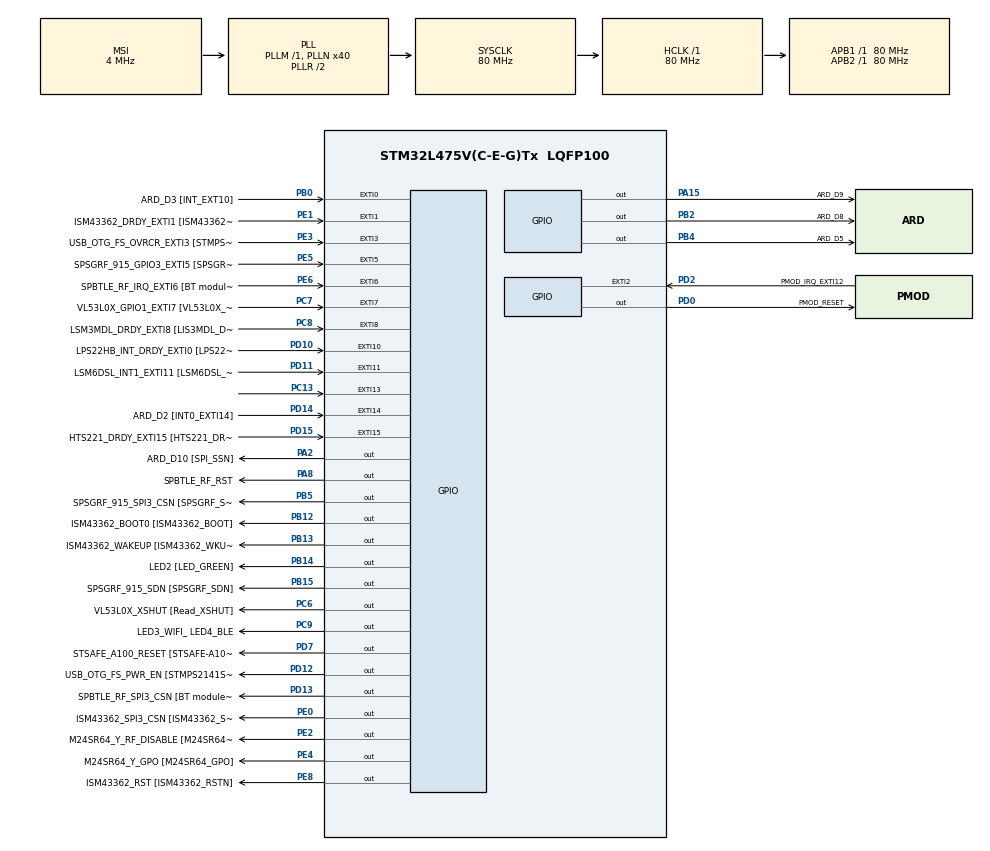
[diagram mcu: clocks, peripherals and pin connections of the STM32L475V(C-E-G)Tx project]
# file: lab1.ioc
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FREERTOS.Mutexes01=LED2_Mutex,Dynamic,NULL,Available
FREERTOS.Tasks01=Task_1,24,128,StartTask_1,Default,NULL,Dynamic,NULL,NULL;Task_2,32,128,StartTask_2,Default,NULL,Dynamic,NULL,NULL
Mcu.Family=STM32L4
Mcu.Name=STM32L475V(C-E-G)Tx
Mcu.Package=LQFP100
NVIC.EXTI15_10_IRQn=true\:5\:0\:false\:false\:true\:true\:true\:true\:true
NVIC.EXTI9_5_IRQn=true\:5\:0\:false\:false\:true\:true\:true\:true\:true
NVIC.PriorityGroup=NVIC_PRIORITYGROUP_4
NVIC.TIM6_DAC_IRQn=true\:5\:0\:false\:false\:true\:true\:true\:true\:true
PA0.GPIO_Label=ARD_D1 [UART4_TX]
PA0.Signal=UART4_TX
PA1.GPIO_Label=ARD_D0 [UART4_RX]
PA1.Signal=UART4_RX
PA10.GPIO_Label=USB_OTG_FS_ID
PA10.Signal=USB_OTG_FS_ID
PA11.GPIO_Label=USB_OTG_FS_DM
PA11.Signal=USB_OTG_FS_DM
PA12.GPIO_Label=USB_OTG_FS_DP
PA12.Signal=USB_OTG_FS_DP
PA13\ (JTMS-SWDIO).GPIO_Label=SYS_JTMS_SWDIO
PA13\ (JTMS-SWDIO).Signal=SYS_JTMS-SWDIO
PA14\ (JTCK-SWCLK).GPIO_Label=SYS_JTCK_SWCLK
PA14\ (JTCK-SWCLK).Signal=SYS_JTCK-SWCLK
PA15\ (JTDI).GPIO_Label=ARD_D9
PA15\ (JTDI).Signal=GPIO_Output
PA2.GPIO_Label=ARD_D10 [SPI_SSN]
PA2.Signal=GPIO_Output
PA3.GPIO_Label=ARD_D4
PA3.Signal=S_TIM2_CH4
PA4.GPIO_Label=ARD_D7
PA4.Signal=ADCx_IN9
PA5.GPIO_Label=ARD_D13 [SPI1_SCK]
PA5.Signal=SPI1_SCK
PA6.GPIO_Label=ARD_D12 [SPI1_MISO]
PA6.Signal=SPI1_MISO
PA7.GPIO_Label=ARD_D11 [SPI1_MOSI]
PA7.Signal=SPI1_MOSI
PA8.GPIO_Label=SPBTLE_RF_RST
PA8.Signal=GPIO_Output
PA9.GPIO_Label=USB_OTG_FS_VBUS [STMPS2141STR_OUT]
PA9.Signal=USB_OTG_FS_VBUS
PB0.GPIO_Label=ARD_D3 [INT_EXT10]
PB0.Signal=GPXTI0
PB1.GPIO_Label=ARD_D6 [ADC1_IN6]
PB1.Signal=ADCx_IN16
PB10.GPIO_Label=INTERNAL_I2C2_SCL [VL53L0X_SCL]
PB10.Signal=I2C2_SCL
PB11.GPIO_Label=INTERNAL_I2C2_SDA [VL53L0X_SDA]
PB11.Signal=I2C2_SDA
PB12.GPIO_Label=ISM43362_BOOT0 [ISM43362_BOOT]
PB12.Signal=GPIO_Output
PB13.GPIO_Label=ISM43362_WAKEUP [ISM43362_WKUP]
PB13.Signal=GPIO_Output
PB14.GPIO_Label=LED2 [LED_GREEN]
PB14.Signal=GPIO_Output
PB15.GPIO_Label=SPSGRF_915_SDN [SPSGRF_SDN]
PB15.Signal=GPIO_Output
PB2.GPIO_Label=ARD_D8
PB2.Signal=GPIO_Output
PB3\ (JTDO-TRACESWO).GPIO_Label=SYS_JTD0_SWO
PB3\ (JTDO-TRACESWO).Signal=SYS_JTDO-SWO
PB4\ (NJTRST).GPIO_Label=ARD_D5
PB4\ (NJTRST).Signal=GPIO_Output
PB5.GPIO_Label=SPSGRF_915_SPI3_CSN [SPSGRF_SPI_CS]
PB5.PinState=GPIO_PIN_SET
PB5.Signal=GPIO_Output
PB6.GPIO_Label=ST_LINK_UART1_TX
PB6.Signal=USART1_TX
PB7.GPIO_Label=ST_LINK_UART1_RX
PB7.Signal=USART1_RX
PB8.GPIO_Label=ARD_D15 [I2C1_SCL]
PB8.Signal=I2C1_SCL
PB9.GPIO_Label=ARD_D14 [I2C1_SDA]
PB9.Signal=I2C1_SDA
PC0.GPIO_Label=ARD_A5 [ADC]
PC0.Signal=ADCx_IN1
PC1.GPIO_Label=ARD_A4 [ADC]
PC1.Signal=ADCx_IN2
PC10.GPIO_Label=INTERNAL_SPI3_SCK [BT module_SPI_SCLK] [ISM43362_SCK]
PC10.Signal=SPI3_SCK
PC11.GPIO_Label=INTERNAL_SPI3_MISO [BT module_SPI_MISO] [ISM43362_MISO]
PC11.Signal=SPI3_MISO
PC12.GPIO_Label=INTERNAL_SPI3_MOSI [BT module_SPI_MOSI] [ISM43362_MOSI]
PC12.Signal=SPI3_MOSI
PC13.GPIO_ModeDefaultEXTI=GPIO_MODE_IT_RISING_FALLING
PC13.GPIO_PuPd=GPIO_PULLUP
PC13.Signal=GPXTI13
PC14-OSC32_IN\ (PC14).Signal=RCC_OSC32_IN
PC15-OSC32_OUT\ (PC15).Signal=RCC_OSC32_OUT
PC2.GPIO_Label=ARD_A3 [ADC]
PC2.Signal=ADCx_IN3
PC3.GPIO_Label=ARD_A2 [ADC]
PC3.Signal=ADCx_IN4
PC4.GPIO_Label=ARD_A1 [ADC]
PC4.Signal=ADCx_IN13
PC5.GPIO_Label=ARD_A0 [ADC]
PC5.Signal=ADCx_IN14
PC6.GPIO_Label=VL53L0X_XSHUT [Read_XSHUT]
PC6.Signal=GPIO_Output
PC7.GPIO_Label=VL53L0X_GPIO1_EXTI7 [VL53L0X_GPIO1]
PC7.Signal=GPXTI7
PC8.GPIO_Label=LSM3MDL_DRDY_EXTI8 [LIS3MDL_DRDY]
PC8.Signal=GPXTI8
PC9.GPIO_Label=LED3_WIFI_ LED4_BLE
PC9.Signal=GPIO_Output
PD0.GPIO_Label=PMOD_RESET
PD0.Signal=GPIO_Output
PD1.GPIO_Label=PMOD_SPI2_SCK
PD1.Signal=SPI2_SCK
PD10.GPIO_Label=LPS22HB_INT_DRDY_EXTI0 [LPS22HB_INT_DRDY] 
PD10.Signal=GPXTI10
PD11.GPIO_Label=LSM6DSL_INT1_EXTI11 [LSM6DSL_INT1]
PD11.Signal=GPXTI11
PD12.GPIO_Label=USB_OTG_FS_PWR_EN [STMPS2141STR_EN]
PD12.Signal=GPIO_Output
PD13.GPIO_Label=SPBTLE_RF_SPI3_CSN [BT module_SPI_CS]
PD13.PinState=GPIO_PIN_SET
PD13.Signal=GPIO_Output
PD14.GPIO_Label=ARD_D2 [INT0_EXTI14]
PD14.Signal=GPXTI14
PD15.GPIO_Label=HTS221_DRDY_EXTI15 [HTS221_DRDY]
PD15.Signal=GPXTI15
PD2.GPIO_Label=PMOD_IRQ_EXTI12
PD2.Signal=GPXTI2
PD3.GPIO_Label=PMOD_UART2_CTS
PD3.Signal=USART2_CTS
PD4.GPIO_Label=PMOD_UART2_RTS
PD4.Signal=USART2_RTS
PD5.GPIO_Label=PMOD_UART2_TX
PD5.Signal=USART2_TX
PD6.GPIO_Label=PMOD_UART2_RX
PD6.Signal=USART2_RX
PD7.GPIO_Label=STSAFE_A100_RESET [STSAFE-A100_RESET]
PD7.Signal=GPIO_Output
PD8.GPIO_Label=INTERNAL_UART3_TX [ISM43362_RX]
PD8.Signal=USART3_TX
PD9.GPIO_Label=INTERNAL_UART3_RX [ISM43362_TX]
PD9.Signal=USART3_RX
PE0.GPIO_Label=ISM43362_SPI3_CSN [ISM43362_SSN]
PE0.PinState=GPIO_PIN_SET
PE0.Signal=GPIO_Output
PE1.GPIO_Label=ISM43362_DRDY_EXTI1 [ISM43362_DATARDY]
PE1.Signal=GPXTI1
PE10.GPIO_Label=QUADSPI_CLK [MX25R6435F_SCLK]
PE10.Signal=QUADSPI_CLK
PE11.GPIO_Label=QUADSPI_NCS [MX25R6435F_SCLK]
PE11.Signal=QUADSPI_NCS
PE12.GPIO_Label=OQUADSPI_BK1_IO0 [MX25R6435F_IO0]
PE12.Signal=QUADSPI_BK1_IO0
PE13.GPIO_Label=QUADSPI_BK1_IO1 [MX25R6435F_IO1]
PE13.Signal=QUADSPI_BK1_IO1
PE14.GPIO_Label=QUAD_SPI_BK1_IO2 [MX25R6435F_IO2]
PE14.Signal=QUADSPI_BK1_IO2
PE15.GPIO_Label=QUAD_SPI_BK1_IO3 [MX25R6435F_IO3]
PE15.Signal=QUADSPI_BK1_IO3
PE2.GPIO_Label=M24SR64_Y_RF_DISABLE [M24SR64_RFDIS]
PE2.Signal=GPIO_Output
PE3.GPIO_Label=USB_OTG_FS_OVRCR_EXTI3 [STMPS2141STR_FAULT]
PE3.Signal=GPXTI3
PE4.GPIO_Label=M24SR64_Y_GPO [M24SR64_GPO]
PE4.Signal=GPIO_Output
PE5.GPIO_Label=SPSGRF_915_GPIO3_EXTI5 [SPSGRF_GPIO_3]
PE5.Signal=GPXTI5
PE6.GPIO_Label=SPBTLE_RF_IRQ_EXTI6 [BT module_SPI_IRQ]
PE6.Signal=GPXTI6
PE7.GPIO_Label=DFSDM1_DATIN2 [MP34DT01_DOUT]
PE7.Signal=S_DATAIN2DFSDM1
PE8.GPIO_Label=ISM43362_RST [ISM43362_RSTN]
PE8.Signal=GPIO_Output
PE9.GPIO_Label=DFSDM1_CKOUT [MP34DT01_CLK]
PE9.Signal=S_CKOUTDFSDM1
ProjectManager.HeapSize=0x200
ProjectManager.StackSize=0x400
ProjectManager.TargetToolchain=STM32CubeIDE
RCC.ADCFreq_Value=48000000
RCC.AHBFreq_Value=80000000
RCC.APB1Freq_Value=80000000
RCC.APB1TimFreq_Value=80000000
RCC.APB2Freq_Value=80000000
RCC.APB2TimFreq_Value=80000000
RCC.CortexFreq_Value=80000000
RCC.HCLKFreq_Value=80000000
RCC.HSE_VALUE=8000000
RCC.HSI_VALUE=16000000
RCC.LSE_VALUE=32768
RCC.MSI_VALUE=4000000
RCC.PLLN=40
RCC.PLLSAI1N=24
RCC.SYSCLKFreq_VALUE=80000000
RCC.SYSCLKSource=RCC_SYSCLKSOURCE_PLLCLK
RCC.USBFreq_Value=48000000
RCC.VCOOutputFreq_Value=160000000
SH.ADCx_IN1.0=ADC1_IN1
SH.ADCx_IN13.0=ADC1_IN13
SH.ADCx_IN14.0=ADC1_IN14
SH.ADCx_IN16.0=ADC1_IN16
SH.ADCx_IN2.0=ADC1_IN2
SH.ADCx_IN3.0=ADC1_IN3
SH.ADCx_IN4.0=ADC1_IN4
SH.ADCx_IN9.0=ADC1_IN9
SH.S_CKOUTDFSDM1.0=DFSDM1_CKOUT
SH.S_DATAIN2DFSDM1.0=DFSDM1_DATIN2
SH.S_TIM2_CH4.0=TIM2_CH4
TIM6.AutoReloadPreload=TIM_AUTORELOAD_PRELOAD_ENABLE
TIM6.Period=39999
TIM6.Prescaler=19999
VP_FREERTOS_VS_CMSIS_V2.Mode=CMSIS_V2
VP_TIM6_VS_ClockSourceINT.Mode=Enable_Timer
board=B-L475E-IOT01A1

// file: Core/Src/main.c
/* USER CODE BEGIN Header */
/**
  ******************************************************************************
  * @file           : main.c
  * @brief          : Main program body
  ******************************************************************************
  * @attention
  *
  * Copyright (c) 2024 STMicroelectronics.
  * All rights reserved.
  *
  * This software is licensed under terms that can be found in the LICENSE file
  * in the root directory of this software component.
  * If no LICENSE file comes with this software, it is provided AS-IS.
  *
  ******************************************************************************
  */
/* USER CODE END Header */
#include "main.h"
#include "cmsis_os.h"

TIM_HandleTypeDef htim6;

/* Definitions for Task_1 */
osThreadId_t Task_1Handle;
const osThreadAttr_t Task_1_attributes = {
  .name = "Task_1",
  .stack_size = 128 * 4,
  .priority = (osPriority_t) osPriorityNormal,
};
/* Definitions for Task_2 */
osThreadId_t Task_2Handle;
const osThreadAttr_t Task_2_attributes = {
  .name = "Task_2",
  .stack_size = 128 * 4,
  .priority = (osPriority_t) osPriorityAboveNormal,
};
/* Definitions for LED2_Mutex */
osMutexId_t LED2_MutexHandle;
const osMutexAttr_t LED2_Mutex_attributes = {
  .name = "LED2_Mutex"
};

void SystemClock_Config(void);
static void MX_GPIO_Init(void);
static void MX_TIM6_Init(void);
void StartTask_1(void *argument);
void StartTask_2(void *argument);

/* USER CODE BEGIN 0 */
uint32_t pressed_time = 0;
uint8_t button_is_pressed = 0;
/* USER CODE END 0 */

int main(void)
{

  /* MCU Configuration--------------------------------------------------------*/

  /* Reset of all peripherals, Initializes the Flash interface and the Systick. */
  HAL_Init();

  /* Configure the system clock */
  SystemClock_Config();

  /* Initialize all configured peripherals */
  MX_GPIO_Init();
  MX_TIM6_Init();
  /* USER CODE BEGIN 2 */

  if (HAL_TIM_Base_Start_IT(&htim6) != HAL_OK)
  {
      /* Starting Error */
      Error_Handler();
  }
  /* USER CODE END 2 */

  /* Init scheduler */
  osKernelInitialize();
  /* Create the mutex(es) */
  /* creation of LED2_Mutex */
  LED2_MutexHandle = osMutexNew(&LED2_Mutex_attributes);

  /* Create the thread(s) */
  /* creation of Task_1 */
  Task_1Handle = osThreadNew(StartTask_1, NULL, &Task_1_attributes);

  /* creation of Task_2 */
  Task_2Handle = osThreadNew(StartTask_2, NULL, &Task_2_attributes);

  /* Start scheduler */
  osKernelStart();

  /* We should never get here as control is now taken by the scheduler */

  /* Infinite loop */
  while (1)
  {

  }
}

void SystemClock_Config(void)
{
  RCC_OscInitTypeDef RCC_OscInitStruct = {0};
  RCC_ClkInitTypeDef RCC_ClkInitStruct = {0};

  /** Configure the main internal regulator output voltage
  */
  if (HAL_PWREx_ControlVoltageScaling(PWR_REGULATOR_VOLTAGE_SCALE1) != HAL_OK)
  {
    Error_Handler();
  }

  /** Initializes the RCC Oscillators according to the specified parameters
  * in the RCC_OscInitTypeDef structure.
  */
  RCC_OscInitStruct.OscillatorType = RCC_OSCILLATORTYPE_MSI;
  RCC_OscInitStruct.MSIState = RCC_MSI_ON;
  RCC_OscInitStruct.MSICalibrationValue = 0;
  RCC_OscInitStruct.MSIClockRange = RCC_MSIRANGE_6;
  RCC_OscInitStruct.PLL.PLLState = RCC_PLL_ON;
  RCC_OscInitStruct.PLL.PLLSource = RCC_PLLSOURCE_MSI;
  RCC_OscInitStruct.PLL.PLLM = 1;
  RCC_OscInitStruct.PLL.PLLN = 40;
  RCC_OscInitStruct.PLL.PLLP = RCC_PLLP_DIV7;
  RCC_OscInitStruct.PLL.PLLQ = RCC_PLLQ_DIV2;
  RCC_OscInitStruct.PLL.PLLR = RCC_PLLR_DIV2;
  if (HAL_RCC_OscConfig(&RCC_OscInitStruct) != HAL_OK)
  {
    Error_Handler();
  }

  /** Initializes the CPU, AHB and APB buses clocks
  */
  RCC_ClkInitStruct.ClockType = RCC_CLOCKTYPE_HCLK|RCC_CLOCKTYPE_SYSCLK
                              |RCC_CLOCKTYPE_PCLK1|RCC_CLOCKTYPE_PCLK2;
  RCC_ClkInitStruct.SYSCLKSource = RCC_SYSCLKSOURCE_PLLCLK;
  RCC_ClkInitStruct.AHBCLKDivider = RCC_SYSCLK_DIV1;
  RCC_ClkInitStruct.APB1CLKDivider = RCC_HCLK_DIV1;
  RCC_ClkInitStruct.APB2CLKDivider = RCC_HCLK_DIV1;

  if (HAL_RCC_ClockConfig(&RCC_ClkInitStruct, FLASH_LATENCY_4) != HAL_OK)
  {
    Error_Handler();
  }
}

static void MX_TIM6_Init(void)
{

  TIM_MasterConfigTypeDef sMasterConfig = {0};

  htim6.Instance = TIM6;
  htim6.Init.Prescaler = 19999;
  htim6.Init.CounterMode = TIM_COUNTERMODE_UP;
  htim6.Init.Period = 39999;
  htim6.Init.AutoReloadPreload = TIM_AUTORELOAD_PRELOAD_ENABLE;
  if (HAL_TIM_Base_Init(&htim6) != HAL_OK)
  {
    Error_Handler();
  }
  sMasterConfig.MasterOutputTrigger = TIM_TRGO_RESET;
  sMasterConfig.MasterSlaveMode = TIM_MASTERSLAVEMODE_DISABLE;
  if (HAL_TIMEx_MasterConfigSynchronization(&htim6, &sMasterConfig) != HAL_OK)
  {
    Error_Handler();
  }

}

static void MX_GPIO_Init(void)
{
  GPIO_InitTypeDef GPIO_InitStruct = {0};

  /* GPIO Ports Clock Enable */
  __HAL_RCC_GPIOE_CLK_ENABLE();
  __HAL_RCC_GPIOC_CLK_ENABLE();
  __HAL_RCC_GPIOA_CLK_ENABLE();
  __HAL_RCC_GPIOB_CLK_ENABLE();
  __HAL_RCC_GPIOD_CLK_ENABLE();

  /*Configure GPIO pin Output Level */
  HAL_GPIO_WritePin(GPIOE, M24SR64_Y_RF_DISABLE_Pin|M24SR64_Y_GPO_Pin|ISM43362_RST_Pin, GPIO_PIN_RESET);

  /*Configure GPIO pin Output Level */
  HAL_GPIO_WritePin(GPIOA, ARD_D10_Pin|SPBTLE_RF_RST_Pin|ARD_D9_Pin, GPIO_PIN_RESET);

  /*Configure GPIO pin Output Level */
  HAL_GPIO_WritePin(GPIOB, ARD_D8_Pin|ISM43362_BOOT0_Pin|ISM43362_WAKEUP_Pin|LED2_Pin
                          |SPSGRF_915_SDN_Pin|ARD_D5_Pin, GPIO_PIN_RESET);

  /*Configure GPIO pin Output Level */
  HAL_GPIO_WritePin(GPIOD, USB_OTG_FS_PWR_EN_Pin|PMOD_RESET_Pin|STSAFE_A100_RESET_Pin, GPIO_PIN_RESET);

  /*Configure GPIO pin Output Level */
  HAL_GPIO_WritePin(SPBTLE_RF_SPI3_CSN_GPIO_Port, SPBTLE_RF_SPI3_CSN_Pin, GPIO_PIN_SET);

  /*Configure GPIO pin Output Level */
  HAL_GPIO_WritePin(GPIOC, VL53L0X_XSHUT_Pin|LED3_WIFI__LED4_BLE_Pin, GPIO_PIN_RESET);

  /*Configure GPIO pin Output Level */
  HAL_GPIO_WritePin(SPSGRF_915_SPI3_CSN_GPIO_Port, SPSGRF_915_SPI3_CSN_Pin, GPIO_PIN_SET);

  /*Configure GPIO pin Output Level */
  HAL_GPIO_WritePin(ISM43362_SPI3_CSN_GPIO_Port, ISM43362_SPI3_CSN_Pin, GPIO_PIN_SET);

  /*Configure GPIO pins : M24SR64_Y_RF_DISABLE_Pin M24SR64_Y_GPO_Pin ISM43362_RST_Pin ISM43362_SPI3_CSN_Pin */
  GPIO_InitStruct.Pin = M24SR64_Y_RF_DISABLE_Pin|M24SR64_Y_GPO_Pin|ISM43362_RST_Pin|ISM43362_SPI3_CSN_Pin;
  GPIO_InitStruct.Mode = GPIO_MODE_OUTPUT_PP;
  GPIO_InitStruct.Pull = GPIO_NOPULL;
  GPIO_InitStruct.Speed = GPIO_SPEED_FREQ_LOW;
  HAL_GPIO_Init(GPIOE, &GPIO_InitStruct);

  /*Configure GPIO pins : USB_OTG_FS_OVRCR_EXTI3_Pin SPSGRF_915_GPIO3_EXTI5_Pin SPBTLE_RF_IRQ_EXTI6_Pin ISM43362_DRDY_EXTI1_Pin */
  GPIO_InitStruct.Pin = USB_OTG_FS_OVRCR_EXTI3_Pin|SPSGRF_915_GPIO3_EXTI5_Pin|SPBTLE_RF_IRQ_EXTI6_Pin|ISM43362_DRDY_EXTI1_Pin;
  GPIO_InitStruct.Mode = GPIO_MODE_IT_RISING;
  GPIO_InitStruct.Pull = GPIO_NOPULL;
  HAL_GPIO_Init(GPIOE, &GPIO_InitStruct);

  /*Configure GPIO pin : PC13 */
  GPIO_InitStruct.Pin = GPIO_PIN_13;
  GPIO_InitStruct.Mode = GPIO_MODE_IT_RISING_FALLING;
  GPIO_InitStruct.Pull = GPIO_PULLUP;
  HAL_GPIO_Init(GPIOC, &GPIO_InitStruct);

  /*Configure GPIO pins : ARD_A5_Pin ARD_A4_Pin ARD_A3_Pin ARD_A2_Pin
                           ARD_A1_Pin ARD_A0_Pin */
  GPIO_InitStruct.Pin = ARD_A5_Pin|ARD_A4_Pin|ARD_A3_Pin|ARD_A2_Pin
                          |ARD_A1_Pin|ARD_A0_Pin;
  GPIO_InitStruct.Mode = GPIO_MODE_ANALOG_ADC_CONTROL;
  GPIO_InitStruct.Pull = GPIO_NOPULL;
  HAL_GPIO_Init(GPIOC, &GPIO_InitStruct);

  /*Configure GPIO pins : ARD_D1_Pin ARD_D0_Pin */
  GPIO_InitStruct.Pin = ARD_D1_Pin|ARD_D0_Pin;
  GPIO_InitStruct.Mode = GPIO_MODE_AF_PP;
  GPIO_InitStruct.Pull = GPIO_NOPULL;
  GPIO_InitStruct.Speed = GPIO_SPEED_FREQ_VERY_HIGH;
  GPIO_InitStruct.Alternate = GPIO_AF8_UART4;
  HAL_GPIO_Init(GPIOA, &GPIO_InitStruct);

  /*Configure GPIO pins : ARD_D10_Pin SPBTLE_RF_RST_Pin ARD_D9_Pin */
  GPIO_InitStruct.Pin = ARD_D10_Pin|SPBTLE_RF_RST_Pin|ARD_D9_Pin;
  GPIO_InitStruct.Mode = GPIO_MODE_OUTPUT_PP;
  GPIO_InitStruct.Pull = GPIO_NOPULL;
  GPIO_InitStruct.Speed = GPIO_SPEED_FREQ_LOW;
  HAL_GPIO_Init(GPIOA, &GPIO_InitStruct);

  /*Configure GPIO pin : ARD_D4_Pin */
  GPIO_InitStruct.Pin = ARD_D4_Pin;
  GPIO_InitStruct.Mode = GPIO_MODE_AF_PP;
  GPIO_InitStruct.Pull = GPIO_NOPULL;
  GPIO_InitStruct.Speed = GPIO_SPEED_FREQ_LOW;
  GPIO_InitStruct.Alternate = GPIO_AF1_TIM2;
  HAL_GPIO_Init(ARD_D4_GPIO_Port, &GPIO_InitStruct);

  /*Configure GPIO pin : ARD_D7_Pin */
  GPIO_InitStruct.Pin = ARD_D7_Pin;
  GPIO_InitStruct.Mode = GPIO_MODE_ANALOG_ADC_CONTROL;
  GPIO_InitStruct.Pull = GPIO_NOPULL;
  HAL_GPIO_Init(ARD_D7_GPIO_Port, &GPIO_InitStruct);

  /*Configure GPIO pins : ARD_D13_Pin ARD_D12_Pin ARD_D11_Pin */
  GPIO_InitStruct.Pin = ARD_D13_Pin|ARD_D12_Pin|ARD_D11_Pin;
  GPIO_InitStruct.Mode = GPIO_MODE_AF_PP;
  GPIO_InitStruct.Pull = GPIO_NOPULL;
  GPIO_InitStruct.Speed = GPIO_SPEED_FREQ_VERY_HIGH;
  GPIO_InitStruct.Alternate = GPIO_AF5_SPI1;
  HAL_GPIO_Init(GPIOA, &GPIO_InitStruct);

  /*Configure GPIO pin : ARD_D3_Pin */
  GPIO_InitStruct.Pin = ARD_D3_Pin;
  GPIO_InitStruct.Mode = GPIO_MODE_IT_RISING;
  GPIO_InitStruct.Pull = GPIO_NOPULL;
  HAL_GPIO_Init(ARD_D3_GPIO_Port, &GPIO_InitStruct);

  /*Configure GPIO pin : ARD_D6_Pin */
  GPIO_InitStruct.Pin = ARD_D6_Pin;
  GPIO_InitStruct.Mode = GPIO_MODE_ANALOG_ADC_CONTROL;
  GPIO_InitStruct.Pull = GPIO_NOPULL;
  HAL_GPIO_Init(ARD_D6_GPIO_Port, &GPIO_InitStruct);

  /*Configure GPIO pins : ARD_D8_Pin ISM43362_BOOT0_Pin ISM43362_WAKEUP_Pin LED2_Pin
                           SPSGRF_915_SDN_Pin ARD_D5_Pin SPSGRF_915_SPI3_CSN_Pin */
  GPIO_InitStruct.Pin = ARD_D8_Pin|ISM43362_BOOT0_Pin|ISM43362_WAKEUP_Pin|LED2_Pin
                          |SPSGRF_915_SDN_Pin|ARD_D5_Pin|SPSGRF_915_SPI3_CSN_Pin;
  GPIO_InitStruct.Mode = GPIO_MODE_OUTPUT_PP;
  GPIO_InitStruct.Pull = GPIO_NOPULL;
  GPIO_InitStruct.Speed = GPIO_SPEED_FREQ_LOW;
  HAL_GPIO_Init(GPIOB, &GPIO_InitStruct);

  /*Configure GPIO pins : DFSDM1_DATIN2_Pin DFSDM1_CKOUT_Pin */
  GPIO_InitStruct.Pin = DFSDM1_DATIN2_Pin|DFSDM1_CKOUT_Pin;
  GPIO_InitStruct.Mode = GPIO_MODE_AF_PP;
  GPIO_InitStruct.Pull = GPIO_NOPULL;
  GPIO_InitStruct.Speed = GPIO_SPEED_FREQ_LOW;
  GPIO_InitStruct.Alternate = GPIO_AF6_DFSDM1;
  HAL_GPIO_Init(GPIOE, &GPIO_InitStruct);

  /*Configure GPIO pins : QUADSPI_CLK_Pin QUADSPI_NCS_Pin OQUADSPI_BK1_IO0_Pin QUADSPI_BK1_IO1_Pin
                           QUAD_SPI_BK1_IO2_Pin QUAD_SPI_BK1_IO3_Pin */
  GPIO_InitStruct.Pin = QUADSPI_CLK_Pin|QUADSPI_NCS_Pin|OQUADSPI_BK1_IO0_Pin|QUADSPI_BK1_IO1_Pin
                          |QUAD_SPI_BK1_IO2_Pin|QUAD_SPI_BK1_IO3_Pin;
  GPIO_InitStruct.Mode = GPIO_MODE_AF_PP;
  GPIO_InitStruct.Pull = GPIO_NOPULL;
  GPIO_InitStruct.Speed = GPIO_SPEED_FREQ_VERY_HIGH;
  GPIO_InitStruct.Alternate = GPIO_AF10_QUADSPI;
  HAL_GPIO_Init(GPIOE, &GPIO_InitStruct);

  /*Configure GPIO pins : INTERNAL_I2C2_SCL_Pin INTERNAL_I2C2_SDA_Pin */
  GPIO_InitStruct.Pin = INTERNAL_I2C2_SCL_Pin|INTERNAL_I2C2_SDA_Pin;
  GPIO_InitStruct.Mode = GPIO_MODE_AF_OD;
  GPIO_InitStruct.Pull = GPIO_NOPULL;
  GPIO_InitStruct.Speed = GPIO_SPEED_FREQ_VERY_HIGH;
  GPIO_InitStruct.Alternate = GPIO_AF4_I2C2;
  HAL_GPIO_Init(GPIOB, &GPIO_InitStruct);

  /*Configure GPIO pins : INTERNAL_UART3_TX_Pin INTERNAL_UART3_RX_Pin */
  GPIO_InitStruct.Pin = INTERNAL_UART3_TX_Pin|INTERNAL_UART3_RX_Pin;
  GPIO_InitStruct.Mode = GPIO_MODE_AF_PP;
  GPIO_InitStruct.Pull = GPIO_NOPULL;
  GPIO_InitStruct.Speed = GPIO_SPEED_FREQ_VERY_HIGH;
  GPIO_InitStruct.Alternate = GPIO_AF7_USART3;
  HAL_GPIO_Init(GPIOD, &GPIO_InitStruct);

  /*Configure GPIO pins : LPS22HB_INT_DRDY_EXTI0_Pin LSM6DSL_INT1_EXTI11_Pin ARD_D2_Pin HTS221_DRDY_EXTI15_Pin
                           PMOD_IRQ_EXTI12_Pin */
  GPIO_InitStruct.Pin = LPS22HB_INT_DRDY_EXTI0_Pin|LSM6DSL_INT1_EXTI11_Pin|ARD_D2_Pin|HTS221_DRDY_EXTI15_Pin
                          |PMOD_IRQ_EXTI12_Pin;
  GPIO_InitStruct.Mode = GPIO_MODE_IT_RISING;
  GPIO_InitStruct.Pull = GPIO_NOPULL;
  HAL_GPIO_Init(GPIOD, &GPIO_InitStruct);

  /*Configure GPIO pins : USB_OTG_FS_PWR_EN_Pin SPBTLE_RF_SPI3_CSN_Pin PMOD_RESET_Pin STSAFE_A100_RESET_Pin */
  GPIO_InitStruct.Pin = USB_OTG_FS_PWR_EN_Pin|SPBTLE_RF_SPI3_CSN_Pin|PMOD_RESET_Pin|STSAFE_A100_RESET_Pin;
  GPIO_InitStruct.Mode = GPIO_MODE_OUTPUT_PP;
  GPIO_InitStruct.Pull = GPIO_NOPULL;
  GPIO_InitStruct.Speed = GPIO_SPEED_FREQ_LOW;
  HAL_GPIO_Init(GPIOD, &GPIO_InitStruct);

  /*Configure GPIO pins : VL53L0X_XSHUT_Pin LED3_WIFI__LED4_BLE_Pin */
  GPIO_InitStruct.Pin = VL53L0X_XSHUT_Pin|LED3_WIFI__LED4_BLE_Pin;
  GPIO_InitStruct.Mode = GPIO_MODE_OUTPUT_PP;
  GPIO_InitStruct.Pull = GPIO_NOPULL;
  GPIO_InitStruct.Speed = GPIO_SPEED_FREQ_LOW;
  HAL_GPIO_Init(GPIOC, &GPIO_InitStruct);

  /*Configure GPIO pins : VL53L0X_GPIO1_EXTI7_Pin LSM3MDL_DRDY_EXTI8_Pin */
  GPIO_InitStruct.Pin = VL53L0X_GPIO1_EXTI7_Pin|LSM3MDL_DRDY_EXTI8_Pin;
  GPIO_InitStruct.Mode = GPIO_MODE_IT_RISING;
  GPIO_InitStruct.Pull = GPIO_NOPULL;
  HAL_GPIO_Init(GPIOC, &GPIO_InitStruct);

  /*Configure GPIO pin : USB_OTG_FS_VBUS_Pin */
  GPIO_InitStruct.Pin = USB_OTG_FS_VBUS_Pin;
  GPIO_InitStruct.Mode = GPIO_MODE_INPUT;
  GPIO_InitStruct.Pull = GPIO_NOPULL;
  HAL_GPIO_Init(USB_OTG_FS_VBUS_GPIO_Port, &GPIO_InitStruct);

  /*Configure GPIO pins : USB_OTG_FS_ID_Pin USB_OTG_FS_DM_Pin USB_OTG_FS_DP_Pin */
  GPIO_InitStruct.Pin = USB_OTG_FS_ID_Pin|USB_OTG_FS_DM_Pin|USB_OTG_FS_DP_Pin;
  GPIO_InitStruct.Mode = GPIO_MODE_AF_PP;
  GPIO_InitStruct.Pull = GPIO_NOPULL;
  GPIO_InitStruct.Speed = GPIO_SPEED_FREQ_VERY_HIGH;
  GPIO_InitStruct.Alternate = GPIO_AF10_OTG_FS;
  HAL_GPIO_Init(GPIOA, &GPIO_InitStruct);

  /*Configure GPIO pins : INTERNAL_SPI3_SCK_Pin INTERNAL_SPI3_MISO_Pin INTERNAL_SPI3_MOSI_Pin */
  GPIO_InitStruct.Pin = INTERNAL_SPI3_SCK_Pin|INTERNAL_SPI3_MISO_Pin|INTERNAL_SPI3_MOSI_Pin;
  GPIO_InitStruct.Mode = GPIO_MODE_AF_PP;
  GPIO_InitStruct.Pull = GPIO_NOPULL;
  GPIO_InitStruct.Speed = GPIO_SPEED_FREQ_VERY_HIGH;
  GPIO_InitStruct.Alternate = GPIO_AF6_SPI3;
  HAL_GPIO_Init(GPIOC, &GPIO_InitStruct);

  /*Configure GPIO pin : PMOD_SPI2_SCK_Pin */
  GPIO_InitStruct.Pin = PMOD_SPI2_SCK_Pin;
  GPIO_InitStruct.Mode = GPIO_MODE_AF_PP;
  GPIO_InitStruct.Pull = GPIO_NOPULL;
  GPIO_InitStruct.Speed = GPIO_SPEED_FREQ_VERY_HIGH;
  GPIO_InitStruct.Alternate = GPIO_AF5_SPI2;
  HAL_GPIO_Init(PMOD_SPI2_SCK_GPIO_Port, &GPIO_InitStruct);

  /*Configure GPIO pins : PMOD_UART2_CTS_Pin PMOD_UART2_RTS_Pin PMOD_UART2_TX_Pin PMOD_UART2_RX_Pin */
  GPIO_InitStruct.Pin = PMOD_UART2_CTS_Pin|PMOD_UART2_RTS_Pin|PMOD_UART2_TX_Pin|PMOD_UART2_RX_Pin;
  GPIO_InitStruct.Mode = GPIO_MODE_AF_PP;
  GPIO_InitStruct.Pull = GPIO_NOPULL;
  GPIO_InitStruct.Speed = GPIO_SPEED_FREQ_VERY_HIGH;
  GPIO_InitStruct.Alternate = GPIO_AF7_USART2;
  HAL_GPIO_Init(GPIOD, &GPIO_InitStruct);

  /*Configure GPIO pins : ST_LINK_UART1_TX_Pin ST_LINK_UART1_RX_Pin */
  GPIO_InitStruct.Pin = ST_LINK_UART1_TX_Pin|ST_LINK_UART1_RX_Pin;
  GPIO_InitStruct.Mode = GPIO_MODE_AF_PP;
  GPIO_InitStruct.Pull = GPIO_NOPULL;
  GPIO_InitStruct.Speed = GPIO_SPEED_FREQ_VERY_HIGH;
  GPIO_InitStruct.Alternate = GPIO_AF7_USART1;
  HAL_GPIO_Init(GPIOB, &GPIO_InitStruct);

  /*Configure GPIO pins : ARD_D15_Pin ARD_D14_Pin */
  GPIO_InitStruct.Pin = ARD_D15_Pin|ARD_D14_Pin;
  GPIO_InitStruct.Mode = GPIO_MODE_AF_OD;
  GPIO_InitStruct.Pull = GPIO_NOPULL;
  GPIO_InitStruct.Speed = GPIO_SPEED_FREQ_VERY_HIGH;
  GPIO_InitStruct.Alternate = GPIO_AF4_I2C1;
  HAL_GPIO_Init(GPIOB, &GPIO_InitStruct);

  /* EXTI interrupt init*/
  HAL_NVIC_SetPriority(EXTI9_5_IRQn, 5, 0);
  HAL_NVIC_EnableIRQ(EXTI9_5_IRQn);

  HAL_NVIC_SetPriority(EXTI15_10_IRQn, 5, 0);
  HAL_NVIC_EnableIRQ(EXTI15_10_IRQn);

}

/* USER CODE BEGIN 4 */
// user button interrupt callback function
void HAL_GPIO_EXTI_Callback(uint16_t GPIO_pin)
{
	if(GPIO_pin == GPIO_PIN_13)
	{
		if (HAL_GPIO_ReadPin(GPIOC, GPIO_PIN_13) == GPIO_PIN_RESET)
		{
			pressed_time = HAL_GetTick();
			button_is_pressed = 1;
			osThreadFlagsSet(Task_1Handle, 0x0001);
		}
		else
		{
			button_is_pressed = 0;
		}
	}
}

// timer interrupt callback function
void HAL_TIM_PeriodElapsedCallback(TIM_HandleTypeDef *htim)
{
	if(htim == &htim6)
		osThreadFlagsSet(Task_2Handle, 0x0001);
}
/* USER CODE END 4 */

void StartTask_1(void *argument)
{
  /* USER CODE BEGIN 5 */
  /* Infinite loop */
  for(;;)
  {
    // LED2 blinks at 1 Hz for 5s
	osThreadFlagsWait(0x0001, osFlagsWaitAny, osWaitForever);
	uint32_t t;
	while (1) {
		t = HAL_GetTick() - pressed_time;
		if (t > 1000 || !button_is_pressed)
			break;
		osDelay(1);
	}
	osStatus_t mutex_status = osMutexAcquire(LED2_MutexHandle, 0);
	if (mutex_status == osOK)
	{
		if (t<1000)
		{
			for(int i=0;i<5;i++)
			{
				HAL_GPIO_WritePin(GPIOB, LED2_Pin, GPIO_PIN_SET);
				osDelay(10);
				HAL_GPIO_WritePin(GPIOB, LED2_Pin, GPIO_PIN_RESET);
				osDelay(990);
			}
		}
		else
		{
			for(int i=0;i<50;i++)
			{
				HAL_GPIO_WritePin(GPIOB, LED2_Pin, GPIO_PIN_SET);
				osDelay(10);
				HAL_GPIO_WritePin(GPIOB, LED2_Pin, GPIO_PIN_RESET);
				osDelay(90);
			}
		}
		osMutexRelease(LED2_MutexHandle);
		osThreadFlagsClear(0x0001);
	}
    osDelay(1);
  }
  /* USER CODE END 5 */
}

void StartTask_2(void *argument)
{
  /* USER CODE BEGIN StartTask_2 */
  // LED2 blinks at 10 Hz for 2s
  osStatus_t mutex_status;
  /* Infinite loop */
  for(;;)
  {
    osThreadFlagsWait(0x0001, osFlagsWaitAny, osWaitForever);
	mutex_status = osMutexAcquire(LED2_MutexHandle, 0);
	if (mutex_status == osOK)
	{
		for(int i=0;i<20;i++)
		{
			HAL_GPIO_WritePin(GPIOB, LED2_Pin, GPIO_PIN_SET);
			osDelay(10);
			HAL_GPIO_WritePin(GPIOB, LED2_Pin, GPIO_PIN_RESET);
			osDelay(90);
		}
		osMutexRelease(LED2_MutexHandle);
	}
    osDelay(1);
  }
  /* USER CODE END StartTask_2 */
}

void Error_Handler(void)
{
  __disable_irq();
  while (1)
  {
  }
}
